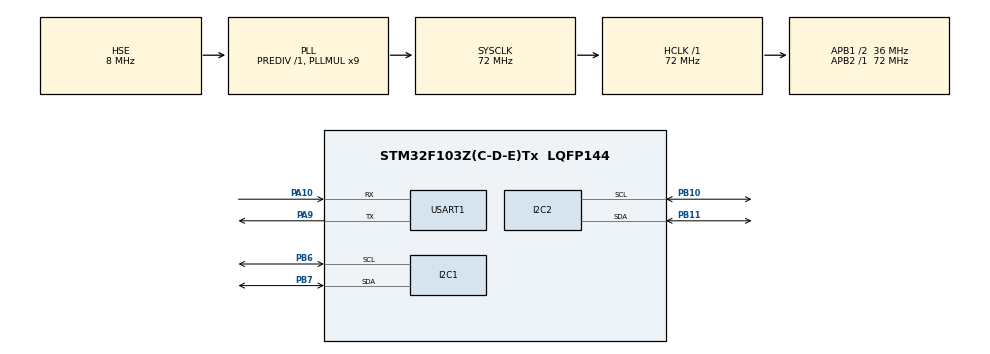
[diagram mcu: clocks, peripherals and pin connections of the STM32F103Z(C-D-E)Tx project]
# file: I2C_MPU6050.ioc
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I2C1.I2C_Mode=I2C_Fast
I2C2.I2C_Mode=I2C_Fast
Mcu.Family=STM32F1
Mcu.Name=STM32F103Z(C-D-E)Tx
Mcu.Package=LQFP144
NVIC.PriorityGroup=NVIC_PRIORITYGROUP_4
NVIC.TIM7_IRQn=true\:0\:0\:false\:false\:true\:true\:true\:true
OSC_IN.Mode=HSE-External-Oscillator
OSC_IN.Signal=RCC_OSC_IN
OSC_OUT.Mode=HSE-External-Oscillator
OSC_OUT.Signal=RCC_OSC_OUT
PA10.Mode=Asynchronous
PA10.Signal=USART1_RX
PA13.Mode=Serial_Wire
PA13.Signal=SYS_JTMS-SWDIO
PA14.Mode=Serial_Wire
PA14.Signal=SYS_JTCK-SWCLK
PA9.Mode=Asynchronous
PA9.Signal=USART1_TX
PB10.Mode=I2C
PB10.Signal=I2C2_SCL
PB11.Mode=I2C
PB11.Signal=I2C2_SDA
PB6.Mode=I2C
PB6.Signal=I2C1_SCL
PB7.Mode=I2C
PB7.Signal=I2C1_SDA
ProjectManager.HeapSize=0x200
ProjectManager.StackSize=0x400
ProjectManager.TargetToolchain=MDK-ARM V5.32
RCC.AHBFreq_Value=72000000
RCC.APB1CLKDivider=RCC_HCLK_DIV2
RCC.APB1Freq_Value=36000000
RCC.APB1TimFreq_Value=72000000
RCC.APB2Freq_Value=72000000
RCC.APB2TimFreq_Value=72000000
RCC.HCLKFreq_Value=72000000
RCC.PLLMUL=RCC_PLL_MUL9
RCC.PLLSourceVirtual=RCC_PLLSOURCE_HSE
RCC.SYSCLKFreq_VALUE=72000000
RCC.SYSCLKSource=RCC_SYSCLKSOURCE_PLLCLK
RCC.USBFreq_Value=72000000
TIM7.Period=200
TIM7.Prescaler=7200-1
USART1.VirtualMode=VM_ASYNC
VP_TIM7_VS_ClockSourceINT.Mode=Enable_Timer
board=custom

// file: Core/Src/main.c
/* USER CODE BEGIN Header */
/**
  ******************************************************************************
  * @file           : main.c
  * @brief          : Main program body
  ******************************************************************************
  * @attention
  *
  * Copyright (c) 2023 STMicroelectronics.
  * All rights reserved.
  *
  * This software is licensed under terms that can be found in the LICENSE file
  * in the root directory of this software component.
  * If no LICENSE file comes with this software, it is provided AS-IS.
  *
  ******************************************************************************
  */
/* USER CODE END Header */
#include "main.h"
#include "i2c.h"
#include "tim.h"
#include "usart.h"
#include "gpio.h"

/* USER CODE BEGIN Includes */
#include <stdio.h>
#include "bsp_i2c.h"
#include "control.h"
#include "ssd_1306.h"
#include "fonts.h"

/* USER CODE END Includes */

void SystemClock_Config(void);

int main(void)
{

  /* MCU Configuration--------------------------------------------------------*/

  /* Reset of all peripherals, Initializes the Flash interface and the Systick. */
  HAL_Init();

  /* Configure the system clock */
  SystemClock_Config();

  /* Initialize all configured peripherals */
  MX_GPIO_Init();
  MX_I2C1_Init();
  MX_USART1_UART_Init();
  MX_TIM7_Init();
  MX_I2C2_Init();
  /* USER CODE BEGIN 2 */
//	HAL_TIM_Base_Start_IT(&htim7);
//	printf("Uart init OK!\r\n");
//	MPU6050_Init();
//	MPU6050_calibrate();

	SSD1306_Init();
  char snum[5];

  SSD1306_GotoXY (0,0);
  SSD1306_Puts ("HWX", &Font_11x18, 1);
  SSD1306_GotoXY (0, 30);
  SSD1306_Puts ("SB", &Font_11x18, 1);
  SSD1306_UpdateScreen();
  HAL_Delay (1000);

  SSD1306_ScrollRight(0,7);
  HAL_Delay(3000);
  SSD1306_ScrollLeft(0,7);
  HAL_Delay(3000);
  SSD1306_Stopscroll();
  SSD1306_Clear();
  SSD1306_GotoXY (35,0);
  SSD1306_Puts ("SCORE", &Font_11x18, 1);
  /* USER CODE END 2 */

  /* Infinite loop */
  /* USER CODE BEGIN WHILE */
  while (1)
  {
		for ( int x = 1; x <= 10000 ; x++ )
		{
				//itoa(x, snum, 10);
				SSD1306_GotoXY (0, 30);
				SSD1306_Puts ("             ", &Font_16x26, 1);
				SSD1306_UpdateScreen();
				if(x < 10) {
					SSD1306_GotoXY (53, 30);  // 1 DIGIT
				}
				else if (x < 100 ) {
					SSD1306_GotoXY (45, 30);  // 2 DIGITS
				}
				else if (x < 1000 ) {
					SSD1306_GotoXY (37, 30);  // 3 DIGITS
				}
				else {
					SSD1306_GotoXY (30, 30);  // 4 DIGIS
				}
				SSD1306_Puts (snum, &Font_16x26, 1);
				SSD1306_UpdateScreen();
				HAL_Delay (500);
	   }
    /* USER CODE END WHILE */

    /* USER CODE BEGIN 3 */
		//printf("1");
//		printf("ax:%1.3f g, \tgx:%f deg/s\r\n", (float)ax/ (0xffff/4), (float)gx/ (0xffff/500));
//		printf("ay:%1.3f g, \tgy:%f deg/s\r\n", (float)ay/ (0xffff/4), (float)gy/ (0xffff/500));
//		printf("az:%1.3f g, \tgz:%f deg/s\r\n", (float)az/ (0xffff/4), (float)gz/ (0xffff/500));
//		printf("---------------------------\r\n");

  }
  /* USER CODE END 3 */
}

void SystemClock_Config(void)
{
  RCC_OscInitTypeDef RCC_OscInitStruct = {0};
  RCC_ClkInitTypeDef RCC_ClkInitStruct = {0};

  /** Initializes the RCC Oscillators according to the specified parameters
  * in the RCC_OscInitTypeDef structure.
  */
  RCC_OscInitStruct.OscillatorType = RCC_OSCILLATORTYPE_HSE;
  RCC_OscInitStruct.HSEState = RCC_HSE_ON;
  RCC_OscInitStruct.HSEPredivValue = RCC_HSE_PREDIV_DIV1;
  RCC_OscInitStruct.HSIState = RCC_HSI_ON;
  RCC_OscInitStruct.PLL.PLLState = RCC_PLL_ON;
  RCC_OscInitStruct.PLL.PLLSource = RCC_PLLSOURCE_HSE;
  RCC_OscInitStruct.PLL.PLLMUL = RCC_PLL_MUL9;
  if (HAL_RCC_OscConfig(&RCC_OscInitStruct) != HAL_OK)
  {
    Error_Handler();
  }

  /** Initializes the CPU, AHB and APB buses clocks
  */
  RCC_ClkInitStruct.ClockType = RCC_CLOCKTYPE_HCLK|RCC_CLOCKTYPE_SYSCLK
                              |RCC_CLOCKTYPE_PCLK1|RCC_CLOCKTYPE_PCLK2;
  RCC_ClkInitStruct.SYSCLKSource = RCC_SYSCLKSOURCE_PLLCLK;
  RCC_ClkInitStruct.AHBCLKDivider = RCC_SYSCLK_DIV1;
  RCC_ClkInitStruct.APB1CLKDivider = RCC_HCLK_DIV2;
  RCC_ClkInitStruct.APB2CLKDivider = RCC_HCLK_DIV1;

  if (HAL_RCC_ClockConfig(&RCC_ClkInitStruct, FLASH_LATENCY_2) != HAL_OK)
  {
    Error_Handler();
  }
}

/* USER CODE BEGIN 4 */
int fputc(int ch, FILE *f)
{
  HAL_UART_Transmit(&huart1, (uint8_t *)&ch, 1, 0xffff);
  return ch;
}

int fgetc(FILE *f)
{
  uint8_t ch = 0;
  HAL_UART_Receive(&huart1, &ch, 1, 0xffff);
  return ch;
}
/* USER CODE END 4 */

void Error_Handler(void)
{
  __disable_irq();
  while (1)
  {
  }
}
